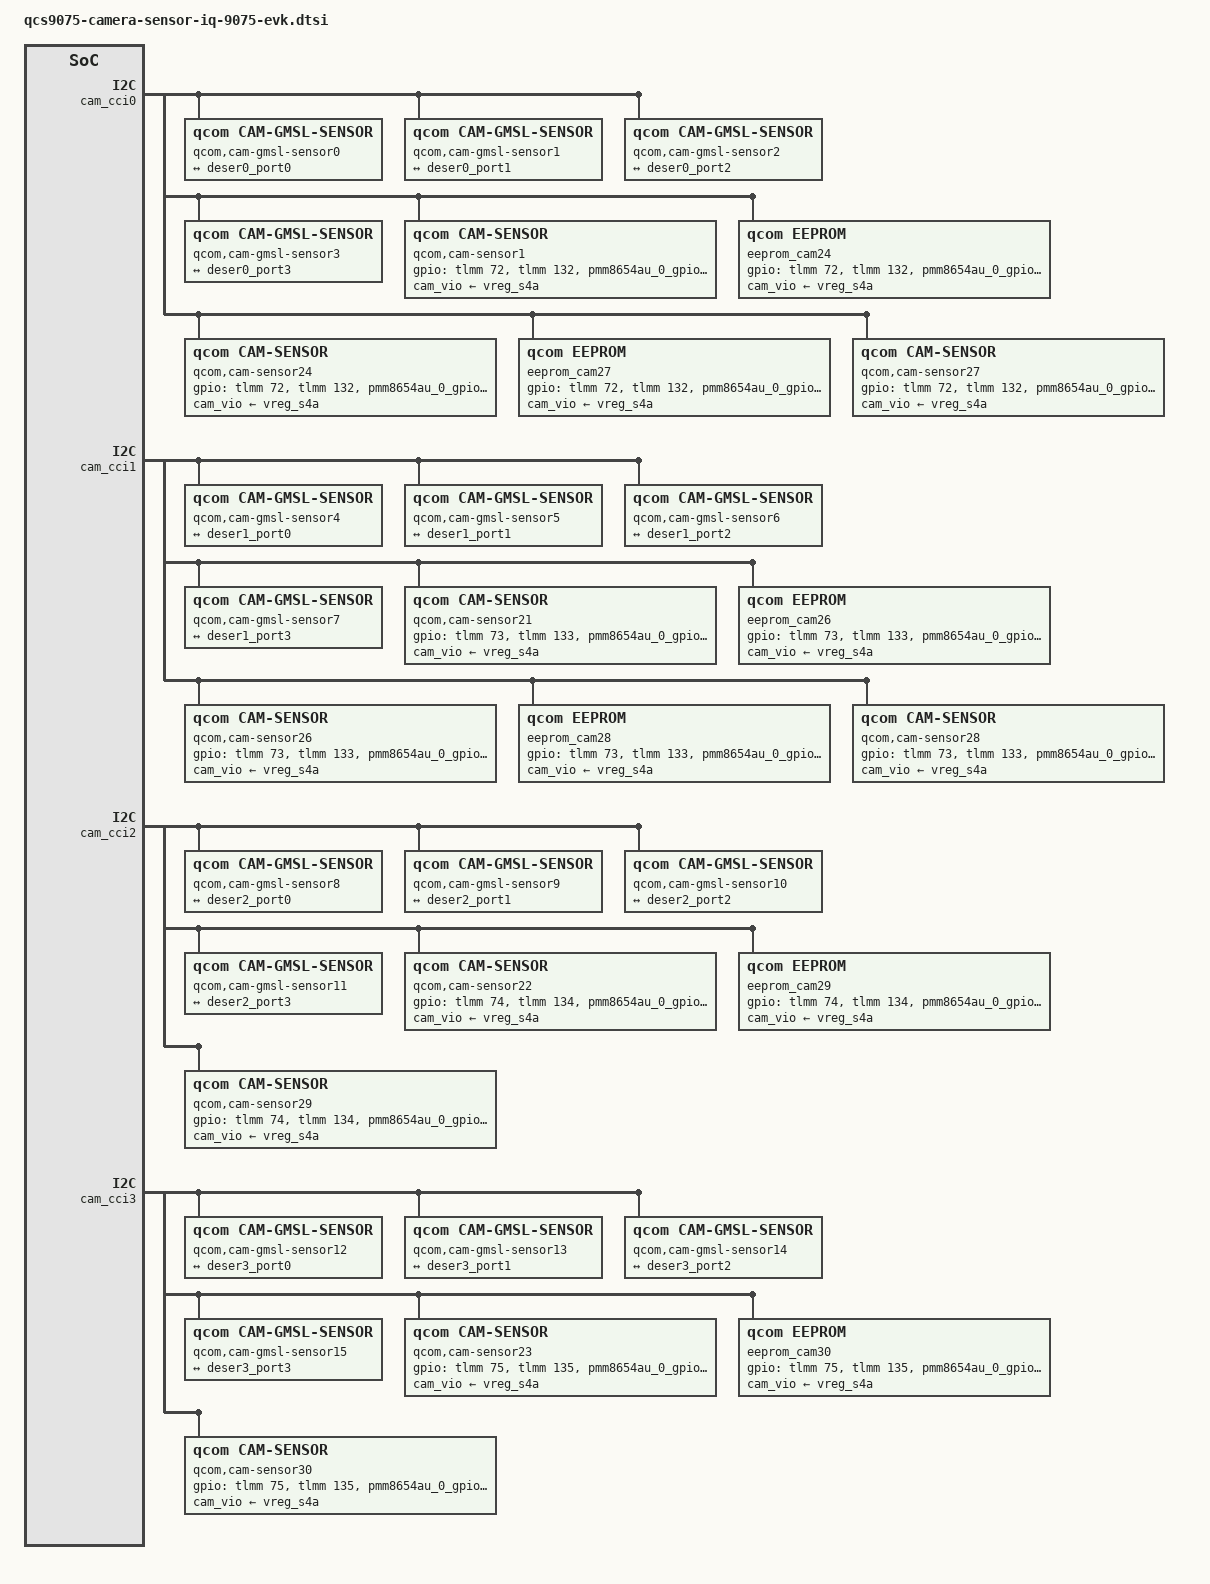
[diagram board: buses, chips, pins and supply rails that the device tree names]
// SPDX-License-Identifier: BSD-3-Clause
/*
 * Copyright (c) 2024 Qualcomm Innovation Center, Inc. All rights reserved.
 */
#include <dt-bindings/msm-camera.h>

&soc {
	qcom,cam-res-mgr {
		compatible = "qcom,cam-res-mgr";
		status = "ok";
		gpios-shared = <518 519 520 521>;
	};
};

&cam_cci0 {

	/* GMSL deserializer 0 */
	qcom,cam-gmsl-deserializer0 {
		cell-index = <0>;
		csiphy-sd-index = <0>;
		sensor-position-roll = <0>;
		sensor-position-pitch = <0>;
		sensor-position-yaw = <180>;
		cam_vio-supply = <&vreg_s4a>;
		regulator-names = "cam_vio";
		power-domains = <&camcc CAM_CC_TITAN_TOP_GDSC>;
		rgltr-cntrl-support;
		pwm-switch;
		rgltr-min-voltage = <1800000>;
		rgltr-max-voltage = <1800000>;
		rgltr-load-current = <120000>;
		gpio-no-mux = <0>;
		pinctrl-names = "cam_default", "cam_suspend";
		pinctrl-0 = <&cam_sensor_mclk0_active>;
		pinctrl-1 = <&cam_sensor_mclk0_suspend>;
		gpios = <&pmm8654au_0_gpios 7 0>;
		gpio-reset = <0>;
		gpio-req-tbl-num = <0>;
		gpio-req-tbl-flags = <0>;
		gpio-req-tbl-label = "CAM_RESET0";
		cci-master = <0>;
		clocks = <&camcc CAM_CC_MCLK0_CLK>;
		clock-names = "cam_clk";
		clock-cntl-level = "nominal";
		clock-rates = <24000000>;
		status = "ok";

		port@0 {
			reg = <0>;
			deser0_port0: endpoint {
				remote-endpoint = <&gmsl_sensor0_ep>;
			};
		};

		port@1 {
			reg = <1>;
			deser0_port1: endpoint {
				remote-endpoint = <&gmsl_sensor1_ep>;
			};
		};

		port@2 {
			reg = <0>;
			deser0_port2: endpoint {
				remote-endpoint = <&gmsl_sensor2_ep>;
			};
		};

		port@3 {
			reg = <1>;
			deser0_port3: endpoint {
				remote-endpoint = <&gmsl_sensor3_ep>;
			};
		};
	};

	/* GMSL deserializer 0 sensor 0 */
	qcom,cam-gmsl-sensor0 {
		cell-index = <0>;
		compatible = "qcom,cam-gmsl-sensor";
		csiphy-sd-index = <0>;
		status = "ok";
		port {
			gmsl_sensor0_ep: endpoint {
				remote-endpoint = <&deser0_port0>;
			};
		};
	};

	/* GMSL deserializer 0 sensor 1 */
	qcom,cam-gmsl-sensor1 {
		cell-index = <1>;
		compatible = "qcom,cam-gmsl-sensor";
		csiphy-sd-index = <0>;
		status = "ok";
		port {
			gmsl_sensor1_ep: endpoint {
				remote-endpoint = <&deser0_port1>;
			};
		};
	};

	/* GMSL deserializer 0 sensor 2 */
	qcom,cam-gmsl-sensor2 {
		cell-index = <2>;
		compatible = "qcom,cam-gmsl-sensor";
		csiphy-sd-index = <0>;
		status = "ok";
		port {
			gmsl_sensor2_ep: endpoint {
				remote-endpoint = <&deser0_port2>;
			};
		};
	};

	/* GMSL deserializer 0 sensor 3 */
	qcom,cam-gmsl-sensor3 {
		cell-index = <3>;
		compatible = "qcom,cam-gmsl-sensor";
		csiphy-sd-index = <0>;
		status = "ok";
		port {
			gmsl_sensor3_ep: endpoint {
				remote-endpoint = <&deser0_port3>;
			};
		};
	};

	/*cam0a-ov9282*/
	qcom,cam-sensor1 {
		cell-index = <20>;
		compatible = "qcom,cam-sensor";
		csiphy-sd-index = <0>;
		sensor-position-roll = <0>;
		sensor-position-pitch = <0>;
		sensor-position-yaw = <180>;
		cam_vio-supply = <&vreg_s4a>;
		regulator-names = "cam_vio";
		power-domains = <&camcc CAM_CC_TITAN_TOP_GDSC>;
		rgltr-cntrl-support;
		pwm-switch;
		rgltr-min-voltage = <1800000>;
		rgltr-max-voltage = <1800000>;
		rgltr-load-current = <120000>;
		gpio-no-mux = <0>;
		pinctrl-names = "cam_default", "cam_suspend";
		pinctrl-0 = <&cam_sensor_mclk0_active
		                &cam_sensor_active_rst0>;
		pinctrl-1 = <&cam_sensor_mclk0_suspend
		                &cam_sensor_suspend_rst0>;
		gpios = <&tlmm 72 0>,
			<&tlmm 132 0>,
			<&pmm8654au_0_gpios 7 0>;
		gpio-reset = <1>;
		gpio-custom1 = <2>;
		gpio-req-tbl-num = <0 1 2>;
		gpio-req-tbl-flags   	 = <1 0 0>;
		gpio-req-tbl-label = "CAM_MCLK0",
		                       "CAMIF_RESET0",
		                         "CAM_CUSTOM1";
		cci-master = <0>;
		clocks = <&camcc CAM_CC_MCLK0_CLK>;
		clock-names = "cam_clk";
		clock-cntl-level = "nominal";
		clock-rates = <24000000>;
		status = "ok";
	};

    eeprom_cam24: qcom,eeprom24 {
		cell-index = <24>;
		compatible = "qcom,eeprom";
		cam_vio-supply = <&vreg_s4a>;
		regulator-names = "cam_vio";
		power-domains = <&camcc CAM_CC_TITAN_TOP_GDSC>;
		rgltr-cntrl-support;
		pwm-switch;
		rgltr-min-voltage = <1800000>;
		rgltr-max-voltage = <1800000>;
		rgltr-load-current = <120000>;
		gpio-no-mux = <0>;
		pinctrl-names = "cam_default", "cam_suspend";
		pinctrl-0 = <&cam_sensor_mclk0_active
		                &cam_sensor_active_rst0>;
		pinctrl-1 = <&cam_sensor_mclk0_suspend
		                &cam_sensor_suspend_rst0>;
		gpios = <&tlmm 72 0>,
			<&tlmm 132 0>,
			<&pmm8654au_0_gpios 7 0>;
		gpio-reset = <1>;
		gpio-custom1 = <2>;
		gpio-req-tbl-num = <0 1 2>;
		gpio-req-tbl-flags   	 = <1 0 0>;
		gpio-req-tbl-label = "CAM_MCLK0",
		                       "CAMIF_RESET0",
		                         "CAM_CUSTOM1";
		cci-master = <0>;
		clocks = <&camcc CAM_CC_MCLK0_CLK>;
		clock-names = "cam_clk";
		clock-cntl-level = "nominal";
		clock-rates = <24000000>;
		status = "ok";
	};

	/*cam24-ov13858*/
	qcom,cam-sensor24 {
		cell-index = <24>;
		compatible = "qcom,cam-sensor";
		csiphy-sd-index = <0>;
		sensor-position-roll = <0>;
		sensor-position-pitch = <0>;
		sensor-position-yaw = <180>;
		eeprom-src = <&eeprom_cam24>;
		cam_vio-supply = <&vreg_s4a>;
		regulator-names = "cam_vio";
		power-domains = <&camcc CAM_CC_TITAN_TOP_GDSC>;
		rgltr-cntrl-support;
		pwm-switch;
		rgltr-min-voltage = <1800000>;
		rgltr-max-voltage = <1800000>;
		rgltr-load-current = <120000>;
		gpio-no-mux = <0>;
		pinctrl-names = "cam_default", "cam_suspend";
		pinctrl-0 = <&cam_sensor_mclk0_active
		                &cam_sensor_active_rst0>;
		pinctrl-1 = <&cam_sensor_mclk0_suspend
		                &cam_sensor_suspend_rst0>;
		gpios = <&tlmm 72 0>,
			<&tlmm 132 0>,
			<&pmm8654au_0_gpios 7 0>;
		gpio-reset = <1>;
		gpio-custom1 = <2>;
		gpio-req-tbl-num = <0 1 2>;
		gpio-req-tbl-flags   	 = <1 0 0>;
		gpio-req-tbl-label = "CAM_MCLK0",
		                       "CAMIF_RESET0",
		                         "CAM_CUSTOM1";
		cci-master = <0>;
		clocks = <&camcc CAM_CC_MCLK0_CLK>;
		clock-names = "cam_clk";
		clock-cntl-level = "nominal";
		clock-rates = <24000000>;
		status = "ok";
	};

	eeprom_cam27: qcom,eeprom27 {
		cell-index = <27>;
		compatible = "qcom,eeprom";
		cam_vio-supply = <&vreg_s4a>;
		regulator-names = "cam_vio";
		power-domains = <&camcc CAM_CC_TITAN_TOP_GDSC>;
		rgltr-cntrl-support;
		pwm-switch;
		rgltr-min-voltage = <1800000>;
		rgltr-max-voltage = <1800000>;
		rgltr-load-current = <120000>;
		gpio-no-mux = <0>;
		pinctrl-0 = <&cam_sensor_mclk0_active
		                &cam_sensor_active_rst0>;
		pinctrl-1 = <&cam_sensor_mclk0_suspend
		                &cam_sensor_suspend_rst0>;
		gpios = <&tlmm 72 0>,
			<&tlmm 132 0>,
			<&pmm8654au_0_gpios 7 0>;
		gpio-reset = <1>;
		gpio-custom1 = <2>;
		gpio-req-tbl-num = <0 1 2>;
		gpio-req-tbl-flags   	 = <1 0 0>;
		gpio-req-tbl-label = "CAM_MCLK0",
		                       "CAMIF_RESET0",
		                         "CAM_CUSTOM1";
		sensor-mode = <0>;
		cci-master = <0>;
		status = "ok";
		clocks = <&camcc CAM_CC_MCLK0_CLK>;
		clock-names = "cam_clk";
		clock-cntl-level = "nominal";
		clock-rates = <24000000>;
	};

	/*cam0-cmk_imx577*/
	qcom,cam-sensor27 {
		cell-index = <27>;
		compatible = "qcom,cam-sensor";
		csiphy-sd-index = <0>;
		sensor-position-roll = <0>;
		sensor-position-pitch = <0>;
		sensor-position-yaw = <180>;
		eeprom-src = <&eeprom_cam27>;
		cam_vio-supply = <&vreg_s4a>;
		regulator-names = "cam_vio";
		power-domains = <&camcc CAM_CC_TITAN_TOP_GDSC>;
		rgltr-cntrl-support;
		pwm-switch;
		rgltr-min-voltage = <1800000>;
		rgltr-max-voltage = <1800000>;
		rgltr-load-current = <120000>;
		gpio-no-mux = <0>;
		pinctrl-names = "cam_default", "cam_suspend";
		pinctrl-0 = <&cam_sensor_mclk0_active
		                &cam_sensor_active_rst0>;
		pinctrl-1 = <&cam_sensor_mclk0_suspend
		                &cam_sensor_suspend_rst0>;
		gpios = <&tlmm 72 0>,
			<&tlmm 132 0>,
			<&pmm8654au_0_gpios 7 0>;
		gpio-reset = <1>;
		gpio-custom1 = <2>;
		gpio-req-tbl-num = <0 1 2>;
		gpio-req-tbl-flags   	 = <1 0 0>;
		gpio-req-tbl-label = "CAM_MCLK0",
		                       "CAMIF_RESET0",
		                         "CAM_CUSTOM1";
		cci-master = <0>;
		clocks = <&camcc CAM_CC_MCLK0_CLK>;
		clock-names = "cam_clk";
		clock-cntl-level = "nominal";
		clock-rates = <24000000>;
		status = "ok";
	};

};

&cam_cci1 {

	/* GMSL deserializer 1 */
	qcom,cam-gmsl-deserializer1 {
		cell-index = <1>;
		csiphy-sd-index = <1>;
		sensor-position-roll = <0>;
		sensor-position-pitch = <0>;
		sensor-position-yaw = <180>;
		cam_vio-supply = <&vreg_s4a>;
		regulator-names = "cam_vio";
		power-domains = <&camcc CAM_CC_TITAN_TOP_GDSC>;
		rgltr-cntrl-support;
		pwm-switch;
		rgltr-min-voltage = <1800000>;
		rgltr-max-voltage = <1800000>;
		rgltr-load-current = <120000>;
		gpio-no-mux = <0>;
		pinctrl-names = "cam_default", "cam_suspend";
		pinctrl-0 = <&cam_sensor_mclk1_active>;
		pinctrl-1 = <&cam_sensor_mclk1_suspend>;
		gpios = <&pmm8654au_0_gpios 8 0>;
		gpio-reset = <0>;
		gpio-req-tbl-num = <0>;
		gpio-req-tbl-flags = <0>;
		gpio-req-tbl-label = "CAM_RESET1";
		cci-master = <0>;
		clocks = <&camcc CAM_CC_MCLK1_CLK>;
		clock-names = "cam_clk";
		clock-cntl-level = "nominal";
		clock-rates = <24000000>;
		status = "ok";

		port@0 {
			reg = <0>;
			deser1_port0: endpoint {
				remote-endpoint = <&gmsl_sensor4_ep>;
			};
		};

		port@1 {
			reg = <1>;
			deser1_port1: endpoint {
				remote-endpoint = <&gmsl_sensor5_ep>;
			};
		};

		port@2 {
			reg = <0>;
			deser1_port2: endpoint {
				remote-endpoint = <&gmsl_sensor6_ep>;
			};
		};

		port@3 {
			reg = <1>;
			deser1_port3: endpoint {
				remote-endpoint = <&gmsl_sensor7_ep>;
			};
		};
	};

	/* GMSL deserializer 1 sensor 0 */
	qcom,cam-gmsl-sensor4 {
		cell-index = <4>;
		compatible = "qcom,cam-gmsl-sensor";
		csiphy-sd-index = <1>;
		status = "ok";
		port {
			gmsl_sensor4_ep: endpoint {
				remote-endpoint = <&deser1_port0>;
			};
		};
	};

	/* GMSL deserializer 1 sensor 1 */
	qcom,cam-gmsl-sensor5 {
		cell-index = <5>;
		compatible = "qcom,cam-gmsl-sensor";
		csiphy-sd-index = <1>;
		status = "ok";
		port {
			gmsl_sensor5_ep: endpoint {
				remote-endpoint = <&deser1_port1>;
			};
		};
	};

	/* GMSL deserializer 1 sensor 2 */
	qcom,cam-gmsl-sensor6 {
		cell-index = <6>;
		compatible = "qcom,cam-gmsl-sensor";
		csiphy-sd-index = <1>;
		status = "ok";
		port {
			gmsl_sensor6_ep: endpoint {
				remote-endpoint = <&deser1_port2>;
			};
		};
	};

	/* GMSL deserializer 1 sensor 3 */
	qcom,cam-gmsl-sensor7 {
		cell-index = <7>;
		compatible = "qcom,cam-gmsl-sensor";
		csiphy-sd-index = <1>;
		status = "ok";
		port {
			gmsl_sensor7_ep: endpoint {
				remote-endpoint = <&deser1_port3>;
			};
		};
	};

	/*cam1-ov9282*/
	qcom,cam-sensor21 {
		cell-index = <21>;
		compatible = "qcom,cam-sensor";
		csiphy-sd-index = <1>;
		sensor-position-roll = <0>;
		sensor-position-pitch = <0>;
		sensor-position-yaw = <180>;
		cam_vio-supply = <&vreg_s4a>;
		regulator-names = "cam_vio";
		power-domains = <&camcc CAM_CC_TITAN_TOP_GDSC>;
		rgltr-cntrl-support;
		pwm-switch;
		rgltr-min-voltage = <1800000>;
		rgltr-max-voltage = <1800000>;
		rgltr-load-current = <120000>;
		gpio-no-mux = <0>;
		pinctrl-names = "cam_default", "cam_suspend";
		pinctrl-0 = <&cam_sensor_mclk1_active
		                &cam_sensor_active_rst1>;
		pinctrl-1 = <&cam_sensor_mclk1_suspend
		                &cam_sensor_suspend_rst1>;
		gpios = <&tlmm 73 0>,
			<&tlmm 133 0>,
			<&pmm8654au_0_gpios 8 0>;
		gpio-reset = <1>;
		gpio-custom1 = <2>;
		gpio-req-tbl-num = <0 1 2>;
		gpio-req-tbl-flags   	 = <1 0 0>;
		gpio-req-tbl-label = "CAM_MCLK1",
		                       "CAMIF_RESET1",
		                         "CAM_CUSTOM1";
		cci-master = <0>;
		clocks = <&camcc CAM_CC_MCLK1_CLK>;
		clock-names = "cam_clk";
		clock-cntl-level = "nominal";
		clock-rates = <24000000>;
		status = "ok";
	};

	eeprom_cam26: qcom,eeprom26 {
		cell-index = <26>;
		compatible = "qcom,eeprom";
		cam_vio-supply = <&vreg_s4a>;
		regulator-names = "cam_vio";
		power-domains = <&camcc CAM_CC_TITAN_TOP_GDSC>;
		rgltr-cntrl-support;
		pwm-switch;
		rgltr-min-voltage = <1800000>;
		rgltr-max-voltage = <1800000>;
		rgltr-load-current = <120000>;
		gpio-no-mux = <0>;
		pinctrl-names = "cam_default", "cam_suspend";
		pinctrl-0 = <&cam_sensor_mclk1_active
				 &cam_sensor_active_rst1>;
		pinctrl-1 = <&cam_sensor_mclk1_suspend
				 &cam_sensor_suspend_rst1>;
		gpios = <&tlmm 73 0>,
			<&tlmm 133 0>,
			<&pmm8654au_0_gpios 8 0>;
		gpio-reset = <1>;
		gpio-custom1 = <2>;
		gpio-req-tbl-num = <0 1 2>;
		gpio-req-tbl-flags = <1 0 0>;
		gpio-req-tbl-label = "CAMIF_MCLK1",
					"CAM_RESET1",
					"CAM_CUSTOM1";
		sensor-mode = <0>;
		cci-master = <0>;
		status = "ok";
		clocks = <&camcc CAM_CC_MCLK1_CLK>;
		clock-names = "cam_clk";
		clock-cntl-level = "nominal";
		clock-rates = <24000000>;
	};

	/*cam1-imx577*/
	qcom,cam-sensor26 {
		cell-index = <26>;
		compatible = "qcom,cam-sensor";
		csiphy-sd-index = <1>;
		sensor-position-roll = <0>;
		sensor-position-pitch = <0>;
		sensor-position-yaw = <180>;
		eeprom-src = <&eeprom_cam26>;
		cam_vio-supply = <&vreg_s4a>;
		regulator-names = "cam_vio";
		power-domains = <&camcc CAM_CC_TITAN_TOP_GDSC>;
		rgltr-cntrl-support;
		pwm-switch;
		rgltr-min-voltage = <1800000>;
		rgltr-max-voltage = <1800000>;
		rgltr-load-current = <120000>;
		gpio-no-mux = <0>;
		pinctrl-names = "cam_default", "cam_suspend";
		pinctrl-0 = <&cam_sensor_mclk1_active
		                &cam_sensor_active_rst1>;
		pinctrl-1 = <&cam_sensor_mclk1_suspend
		                &cam_sensor_suspend_rst1>;
		gpios = <&tlmm 73 0>,
			<&tlmm 133 0>,
			<&pmm8654au_0_gpios 8 0>;
		gpio-reset = <1>;
		gpio-custom1 = <2>;
		gpio-req-tbl-num = <0 1 2>;
		gpio-req-tbl-flags = <1 0 0>;
		gpio-req-tbl-label = "CAM_MCLK1",
		                       "CAMIF_RESET1",
		                         "CAM_CUSTOM1";
		cci-master = <0>;
		clocks = <&camcc CAM_CC_MCLK1_CLK>;
		clock-names = "cam_clk";
		clock-cntl-level = "nominal";
		clock-rates = <24000000>;
		status = "ok";
	};

	eeprom_cam28: qcom,eeprom28 {
		cell-index = <28>;
		compatible = "qcom,eeprom";
		cam_vio-supply = <&vreg_s4a>;
		regulator-names = "cam_vio";
		power-domains = <&camcc CAM_CC_TITAN_TOP_GDSC>;
		rgltr-cntrl-support;
		pwm-switch;
		rgltr-min-voltage = <1800000>;
		rgltr-max-voltage = <1800000>;
		rgltr-load-current = <120000>;
		gpio-no-mux = <0>;
		pinctrl-names = "cam_default", "cam_suspend";
		pinctrl-0 = <&cam_sensor_mclk1_active
				 &cam_sensor_active_rst1>;
		pinctrl-1 = <&cam_sensor_mclk1_suspend
				 &cam_sensor_suspend_rst1>;
		gpios = <&tlmm 73 0>,
			<&tlmm 133 0>,
			<&pmm8654au_0_gpios 8 0>;
		gpio-reset = <1>;
		gpio-custom1 = <2>;
		gpio-req-tbl-num = <0 1 2>;
		gpio-req-tbl-flags = <1 0 0>;
		gpio-req-tbl-label = "CAMIF_MCLK1",
					"CAM_RESET1",
					"CAM_CUSTOM1";
		sensor-mode = <0>;
		cci-master = <0>;
		status = "ok";
		clocks = <&camcc CAM_CC_MCLK1_CLK>;
		clock-names = "cam_clk";
		clock-cntl-level = "nominal";
		clock-rates = <24000000>;
	};

	/*cam1-cmk_imx577*/
	qcom,cam-sensor28 {
		cell-index = <28>;
		compatible = "qcom,cam-sensor";
		csiphy-sd-index = <1>;
		sensor-position-roll = <0>;
		sensor-position-pitch = <0>;
		sensor-position-yaw = <180>;
		eeprom-src = <&eeprom_cam28>;
		cam_vio-supply = <&vreg_s4a>;
		regulator-names = "cam_vio";
		power-domains = <&camcc CAM_CC_TITAN_TOP_GDSC>;
		rgltr-cntrl-support;
		pwm-switch;
		rgltr-min-voltage = <1800000>;
		rgltr-max-voltage = <1800000>;
		rgltr-load-current = <120000>;
		gpio-no-mux = <0>;
		pinctrl-names = "cam_default", "cam_suspend";
		pinctrl-0 = <&cam_sensor_mclk1_active
		                &cam_sensor_active_rst1>;
		pinctrl-1 = <&cam_sensor_mclk1_suspend
		                &cam_sensor_suspend_rst1>;
		gpios = <&tlmm 73 0>,
			<&tlmm 133 0>,
			<&pmm8654au_0_gpios 8 0>;
		gpio-reset = <1>;
		gpio-custom1 = <2>;
		gpio-req-tbl-num = <0 1 2>;
		gpio-req-tbl-flags   	 = <1 0 0>;
		gpio-req-tbl-label = "CAM_MCLK1",
		                       "CAMIF_RESET1",
		                         "CAM_CUSTOM1";
		cci-master = <0>;
		clocks = <&camcc CAM_CC_MCLK1_CLK>;
		clock-names = "cam_clk";
		clock-cntl-level = "nominal";
		clock-rates = <24000000>;
		status = "ok";
	};

};

&cam_cci2 {

	/* GMSL deserializer 2 */
	qcom,cam-gmsl-deserializer2 {
		cell-index = <2>;
		csiphy-sd-index = <2>;
		sensor-position-roll = <0>;
		sensor-position-pitch = <0>;
		sensor-position-yaw = <180>;
		cam_vio-supply = <&vreg_s4a>;
		regulator-names = "cam_vio";
		power-domains = <&camcc CAM_CC_TITAN_TOP_GDSC>;
		rgltr-cntrl-support;
		pwm-switch;
		rgltr-min-voltage = <1800000>;
		rgltr-max-voltage = <1800000>;
		rgltr-load-current = <120000>;
		gpio-no-mux = <0>;
		pinctrl-names = "cam_default", "cam_suspend";
		pinctrl-0 = <&cam_sensor_mclk2_active>;
		pinctrl-1 = <&cam_sensor_mclk2_suspend>;
		gpios = <&pmm8654au_0_gpios 9 0>;
		gpio-reset = <0>;
		gpio-req-tbl-num = <0>;
		gpio-req-tbl-flags = <0>;
		gpio-req-tbl-label = "CAM_RESET2";
		cci-master = <0>;
		clocks = <&camcc CAM_CC_MCLK2_CLK>;
		clock-names = "cam_clk";
		clock-cntl-level = "nominal";
		clock-rates = <24000000>;
		status = "ok";

		port@0 {
			reg = <0>;
			deser2_port0: endpoint {
				remote-endpoint = <&gmsl_sensor8_ep>;
			};
		};

		port@1 {
			reg = <1>;
			deser2_port1: endpoint {
				remote-endpoint = <&gmsl_sensor9_ep>;
			};
		};

		port@2 {
			reg = <0>;
			deser2_port2: endpoint {
				remote-endpoint = <&gmsl_sensor10_ep>;
			};
		};

		port@3 {
			reg = <1>;
			deser2_port3: endpoint {
				remote-endpoint = <&gmsl_sensor11_ep>;
			};
		};
	};

	/* GMSL deserializer 2 sensor 0 */
	qcom,cam-gmsl-sensor8 {
		cell-index = <8>;
		compatible = "qcom,cam-gmsl-sensor";
		csiphy-sd-index = <2>;
		status = "ok";
		port {
			gmsl_sensor8_ep: endpoint {
				remote-endpoint = <&deser2_port0>;
			};
		};
	};

	/* GMSL deserializer 2 sensor 1 */
	qcom,cam-gmsl-sensor9 {
		cell-index = <9>;
		compatible = "qcom,cam-gmsl-sensor";
		csiphy-sd-index = <2>;
		status = "ok";
		port {
			gmsl_sensor9_ep: endpoint {
				remote-endpoint = <&deser2_port1>;
			};
		};
	};

	/* GMSL deserializer 2 sensor 2 */
	qcom,cam-gmsl-sensor10 {
		cell-index = <10>;
		compatible = "qcom,cam-gmsl-sensor";
		csiphy-sd-index = <2>;
		status = "ok";
		port {
			gmsl_sensor10_ep: endpoint {
				remote-endpoint = <&deser2_port2>;
			};
		};
	};

	/* GMSL deserializer 2 sensor 3 */
	qcom,cam-gmsl-sensor11 {
		cell-index = <11>;
		compatible = "qcom,cam-gmsl-sensor";
		csiphy-sd-index = <2>;
		status = "ok";
		port {
			gmsl_sensor11_ep: endpoint {
				remote-endpoint = <&deser2_port3>;
			};
		};
	};

	/*cam2-ov9282*/
	qcom,cam-sensor22 {
		cell-index = <22>;
		compatible = "qcom,cam-sensor";
		csiphy-sd-index = <2>;
		sensor-position-roll = <0>;
		sensor-position-pitch = <0>;
		sensor-position-yaw = <180>;
		cam_vio-supply = <&vreg_s4a>;
		regulator-names = "cam_vio";
		power-domains = <&camcc CAM_CC_TITAN_TOP_GDSC>;
		rgltr-cntrl-support;
		pwm-switch;
		rgltr-min-voltage = <1800000>;
		rgltr-max-voltage = <1800000>;
		rgltr-load-current = <120000>;
		gpio-no-mux = <0>;
		pinctrl-names = "cam_default", "cam_suspend";
		pinctrl-0 = <&cam_sensor_mclk2_active
		                &cam_sensor_active_rst2>;
		pinctrl-1 = <&cam_sensor_mclk2_suspend
		                &cam_sensor_suspend_rst2>;
		gpios = <&tlmm 74 0>,
			<&tlmm 134 0>,
			<&pmm8654au_0_gpios 9 0>;
		gpio-reset = <1>;
		gpio-custom1 = <2>;
		gpio-req-tbl-num = <0 1 2>;
		gpio-req-tbl-flags   	 = <1 0 0>;
		gpio-req-tbl-label = "CAM_MCLK2",
		                       "CAMIF_RESET2",
		                         "CAM_CUSTOM1";
		cci-master = <0>;
		clocks = <&camcc CAM_CC_MCLK2_CLK>;
		clock-names = "cam_clk";
		clock-cntl-level = "nominal";
		clock-rates = <24000000>;
		status = "ok";
	};

	eeprom_cam29: qcom,eeprom29 {
		cell-index = <29>;
		compatible = "qcom,eeprom";
		cam_vio-supply = <&vreg_s4a>;
		regulator-names = "cam_vio";
		power-domains = <&camcc CAM_CC_TITAN_TOP_GDSC>;
		rgltr-cntrl-support;
		pwm-switch;
		rgltr-min-voltage = <1800000>;
		rgltr-max-voltage = <1800000>;
		rgltr-load-current = <120000>;
		gpio-no-mux = <0>;
		pinctrl-names = "cam_default", "cam_suspend";
		pinctrl-0 = <&cam_sensor_mclk2_active
				 &cam_sensor_active_rst2>;
		pinctrl-1 = <&cam_sensor_mclk2_suspend
				 &cam_sensor_suspend_rst2>;
		gpios = <&tlmm 74 0>,
			<&tlmm 134 0>,
			<&pmm8654au_0_gpios 9 0>;
		gpio-reset = <1>;
		gpio-custom1 = <2>;
		gpio-req-tbl-num = <0 1 2>;
		gpio-req-tbl-flags = <1 0 0>;
		gpio-req-tbl-label = "CAMIF_MCLK2",
					"CAM_RESET2",
					"CAM_CUSTOM1";
		sensor-mode = <0>;
		cci-master = <0>;
		status = "ok";
		clocks = <&camcc CAM_CC_MCLK2_CLK>;
		clock-names = "cam_clk";
		clock-cntl-level = "nominal";
		clock-rates = <24000000>;
	};

	/*cam2-cmk_imx577*/
	qcom,cam-sensor29 {
		cell-index = <29>;
		compatible = "qcom,cam-sensor";
		csiphy-sd-index = <2>;
		sensor-position-roll = <0>;
		sensor-position-pitch = <0>;
		sensor-position-yaw = <180>;
		eeprom-src = <&eeprom_cam29>;
		cam_vio-supply = <&vreg_s4a>;
		regulator-names = "cam_vio";
		power-domains = <&camcc CAM_CC_TITAN_TOP_GDSC>;
		rgltr-cntrl-support;
		pwm-switch;
		rgltr-min-voltage = <1800000>;
		rgltr-max-voltage = <1800000>;
		rgltr-load-current = <120000>;
		gpio-no-mux = <0>;
		pinctrl-names = "cam_default", "cam_suspend";
		pinctrl-0 = <&cam_sensor_mclk2_active
		                &cam_sensor_active_rst2>;
		pinctrl-1 = <&cam_sensor_mclk2_suspend
		                &cam_sensor_suspend_rst2>;
		gpios = <&tlmm 74 0>,
			<&tlmm 134 0>,
			<&pmm8654au_0_gpios 9 0>;
		gpio-reset = <1>;
		gpio-custom1 = <2>;
		gpio-req-tbl-num = <0 1 2>;
		gpio-req-tbl-flags   	 = <1 0 0>;
		gpio-req-tbl-label = "CAM_MCLK2",
		                       "CAMIF_RESET2",
		                         "CAM_CUSTOM1";
		cci-master = <0>;
		clocks = <&camcc CAM_CC_MCLK2_CLK>;
		clock-names = "cam_clk";
		clock-cntl-level = "nominal";
		clock-rates = <24000000>;
		status = "ok";
	};
};

&cam_cci3 {

	/* GMSL deserializer 3 */
	qcom,cam-gmsl-deserializer3 {
		cell-index = <3>;
		csiphy-sd-index = <3>;
		sensor-position-roll = <0>;
		sensor-position-pitch = <0>;
		sensor-position-yaw = <180>;
		cam_vio-supply = <&vreg_s4a>;
		regulator-names = "cam_vio";
		power-domains = <&camcc CAM_CC_TITAN_TOP_GDSC>;
		rgltr-cntrl-support;
		pwm-switch;
		rgltr-min-voltage = <1800000>;
		rgltr-max-voltage = <1800000>;
		rgltr-load-current = <120000>;
		gpio-no-mux = <0>;
		pinctrl-names = "cam_default", "cam_suspend";
		pinctrl-0 = <&cam_sensor_mclk3_active>;
		pinctrl-1 = <&cam_sensor_mclk3_suspend>;
		gpios = <&pmm8654au_0_gpios 10 0>;
		gpio-reset = <0>;
		gpio-req-tbl-num = <0>;
		gpio-req-tbl-flags = <0>;
		gpio-req-tbl-label = "CAM_RESET3";
		cci-master = <0>;
		clocks = <&camcc CAM_CC_MCLK3_CLK>;
		clock-names = "cam_clk";
		clock-cntl-level = "nominal";
		clock-rates = <24000000>;
		status = "ok";

		port@0 {
			reg = <0>;
			deser3_port0: endpoint {
				remote-endpoint = <&gmsl_sensor12_ep>;
			};
		};

		port@1 {
			reg = <1>;
			deser3_port1: endpoint {
				remote-endpoint = <&gmsl_sensor13_ep>;
			};
		};

		port@2 {
			reg = <0>;
			deser3_port2: endpoint {
				remote-endpoint = <&gmsl_sensor14_ep>;
			};
		};

		port@3 {
			reg = <1>;
			deser3_port3: endpoint {
				remote-endpoint = <&gmsl_sensor15_ep>;
			};
		};
	};

	/* GMSL deserializer 3 sensor 0 */
	qcom,cam-gmsl-sensor12 {
		cell-index = <12>;
		compatible = "qcom,cam-gmsl-sensor";
		csiphy-sd-index = <3>;
		status = "ok";
		port {
			gmsl_sensor12_ep: endpoint {
				remote-endpoint = <&deser3_port0>;
			};
		};
	};

	/* GMSL deserializer 3 sensor 1 */
	qcom,cam-gmsl-sensor13 {
		cell-index = <13>;
		compatible = "qcom,cam-gmsl-sensor";
		csiphy-sd-index = <3>;
		status = "ok";
		port {
			gmsl_sensor13_ep: endpoint {
				remote-endpoint = <&deser3_port1>;
			};
		};
	};

	/* GMSL deserializer 3 sensor 2 */
	qcom,cam-gmsl-sensor14 {
		cell-index = <14>;
		compatible = "qcom,cam-gmsl-sensor";
		csiphy-sd-index = <3>;
		status = "ok";
		port {
			gmsl_sensor14_ep: endpoint {
				remote-endpoint = <&deser3_port2>;
			};
		};
	};

	/* GMSL deserializer 3 sensor 3 */
	qcom,cam-gmsl-sensor15 {
		cell-index = <15>;
		compatible = "qcom,cam-gmsl-sensor";
		csiphy-sd-index = <3>;
		status = "ok";
		port {
			gmsl_sensor15_ep: endpoint {
				remote-endpoint = <&deser3_port3>;
			};
		};
	};

	/*cam3-ov9282*/
	qcom,cam-sensor23 {
		cell-index = <23>;
		compatible = "qcom,cam-sensor";
		csiphy-sd-index = <3>;
		sensor-position-roll = <0>;
		sensor-position-pitch = <0>;
		sensor-position-yaw = <180>;
		cam_vio-supply = <&vreg_s4a>;
		regulator-names = "cam_vio";
		power-domains = <&camcc CAM_CC_TITAN_TOP_GDSC>;
		rgltr-cntrl-support;
		pwm-switch;
		rgltr-min-voltage = <1800000>;
		rgltr-max-voltage = <1800000>;
		rgltr-load-current = <120000>;
		gpio-no-mux = <0>;
		pinctrl-names = "cam_default", "cam_suspend";
		pinctrl-0 = <&cam_sensor_mclk3_active
		                &cam_sensor_active_rst3>;
		pinctrl-1 = <&cam_sensor_mclk3_suspend
		                &cam_sensor_suspend_rst3>;
		gpios = <&tlmm 75 0>,
			<&tlmm 135 0>,
			<&pmm8654au_0_gpios 10 0>;
		gpio-reset = <1>;
		gpio-custom1 = <2>;
		gpio-req-tbl-num = <0 1 2>;
		gpio-req-tbl-flags   	 = <1 0 0>;
		gpio-req-tbl-label = "CAM_MCLK3",
		                       "CAMIF_RESET3",
		                         "CAM_CUSTOM1";
		cci-master = <0>;
		clocks = <&camcc CAM_CC_MCLK3_CLK>;
		clock-names = "cam_clk";
		clock-cntl-level = "nominal";
		clock-rates = <24000000>;
		status = "ok";
	};

	eeprom_cam30: qcom,eeprom30 {
		cell-index = <30>;
		compatible = "qcom,eeprom";
		cam_vio-supply = <&vreg_s4a>;
		regulator-names = "cam_vio";
		power-domains = <&camcc CAM_CC_TITAN_TOP_GDSC>;
		rgltr-cntrl-support;
		pwm-switch;
		rgltr-min-voltage = <1800000>;
		rgltr-max-voltage = <1800000>;
		rgltr-load-current = <120000>;
		gpio-no-mux = <0>;
		pinctrl-names = "cam_default", "cam_suspend";
		pinctrl-0 = <&cam_sensor_mclk3_active
				 &cam_sensor_active_rst3>;
		pinctrl-1 = <&cam_sensor_mclk3_suspend
				 &cam_sensor_suspend_rst3>;
		gpios = <&tlmm 75 0>,
			<&tlmm 135 0>,
			<&pmm8654au_0_gpios 10 0>;
		gpio-reset = <1>;
		gpio-custom1 = <2>;
		gpio-req-tbl-num = <0 1 2>;
		gpio-req-tbl-flags = <1 0 0>;
		gpio-req-tbl-label = "CAMIF_MCLK3",
					"CAM_RESET3",
					"CAM_CUSTOM1";
		sensor-mode = <0>;
		cci-master = <0>;
		status = "ok";
		clocks = <&camcc CAM_CC_MCLK3_CLK>;
		clock-names = "cam_clk";
		clock-cntl-level = "nominal";
		clock-rates = <24000000>;
	};

	/*cam3-cmk_imx577*/
	qcom,cam-sensor30 {
		cell-index = <30>;
		compatible = "qcom,cam-sensor";
		csiphy-sd-index = <3>;
		sensor-position-roll = <0>;
		sensor-position-pitch = <0>;
		sensor-position-yaw = <180>;
		eeprom-src = <&eeprom_cam30>;
		cam_vio-supply = <&vreg_s4a>;
		regulator-names = "cam_vio";
		power-domains = <&camcc CAM_CC_TITAN_TOP_GDSC>;
		rgltr-cntrl-support;
		pwm-switch;
		rgltr-min-voltage = <1800000>;
		rgltr-max-voltage = <1800000>;
		rgltr-load-current = <120000>;
		gpio-no-mux = <0>;
		pinctrl-names = "cam_default", "cam_suspend";
		pinctrl-0 = <&cam_sensor_mclk3_active
		                &cam_sensor_active_rst3>;
		pinctrl-1 = <&cam_sensor_mclk3_suspend
		                &cam_sensor_suspend_rst3>;
		gpios = <&tlmm 75 0>,
			<&tlmm 135 0>,
			<&pmm8654au_0_gpios 10 0>;
		gpio-reset = <1>;
		gpio-custom1 = <2>;
		gpio-req-tbl-num = <0 1 2>;
		gpio-req-tbl-flags   	 = <1 0 0>;
		gpio-req-tbl-label = "CAM_MCLK3",
		                       "CAMIF_RESET3",
		                         "CAM_CUSTOM1";
		cci-master = <0>;
		clocks = <&camcc CAM_CC_MCLK3_CLK>;
		clock-names = "cam_clk";
		clock-cntl-level = "nominal";
		clock-rates = <24000000>;
		status = "ok";
	};

};

